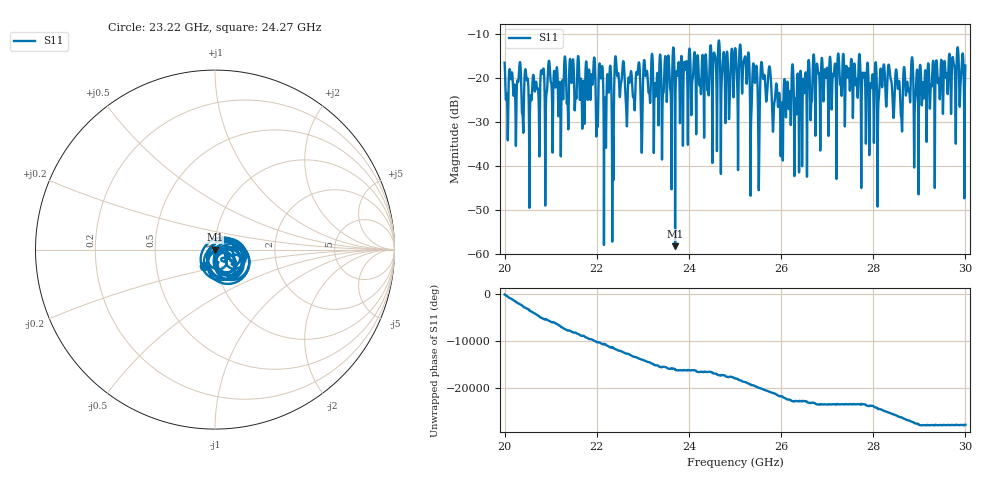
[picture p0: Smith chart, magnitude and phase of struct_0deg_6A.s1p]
#  HZ  S  RI  R  50.00
! Rohde & Schwarz ZVA40 4Ports - Version 3.90 - 1145.1110k42 SN: 100403
! Date: 2023-09-30 05:09:02
! Measurement: S22
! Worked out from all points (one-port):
!   5001 points, 20 GHz to 30 GHz, reference 50 ohm
!   lowest |S11| = -58.3 dB at 23.7 GHz (marker M1), VSWR 1.00, Z = 49.9 - j0.0535 ohm
!   |S11| at or under -10 dB: start of sweep to end of sweep
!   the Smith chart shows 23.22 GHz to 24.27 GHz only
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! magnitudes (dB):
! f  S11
! 20 GHz  -16.6
! 20.47 GHz  -20.0
! 20.56 GHz  -25.2
! 20.82 GHz  -19.2
! 21.25 GHz  -20.7
! 21.45 GHz  -21.2
! 21.7 GHz  -24.6
! 21.92 GHz  -18.6
! 22.01 GHz  -28.9
! 22.09 GHz  -20.2
! 22.17 GHz  -27.0
! 22.27 GHz  -21.5
! 22.34 GHz  -38.6
! 22.43 GHz  -17.2
! 22.5 GHz  -24.4
! 23.7 GHz  -58.3
! 23.75 GHz  -19.5
! 25 GHz  -13.5
! 25.26 GHz  -20.2
! 25.37 GHz  -24.8
! 25.43 GHz  -21.1
! 25.51 GHz  -33.8
! 25.6 GHz  -19.1
! 26 GHz  -29.3
! 26.25 GHz  -17.0
! 27.5 GHz  -21.1
! 28.75 GHz  -21.9
! 30 GHz  -17.3
